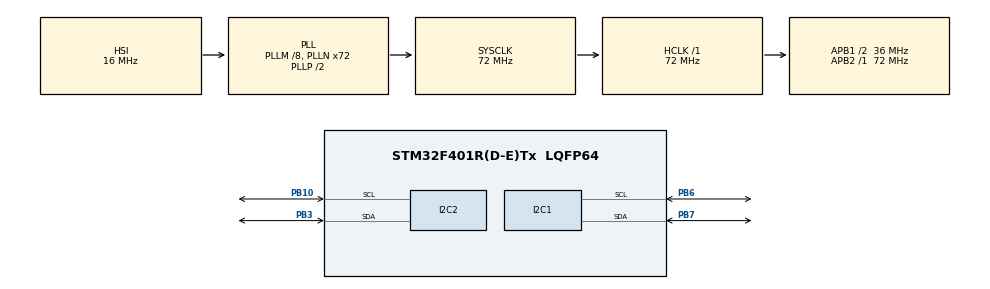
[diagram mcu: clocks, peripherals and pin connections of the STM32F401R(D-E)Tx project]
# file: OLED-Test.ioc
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I2C1.I2C_Mode=I2C_Fast
I2C2.I2C_Mode=I2C_Fast
Mcu.Family=STM32F4
Mcu.Name=STM32F401R(D-E)Tx
Mcu.Package=LQFP64
NVIC.PriorityGroup=NVIC_PRIORITYGROUP_4
PA13.Mode=Serial_Wire
PA13.Signal=SYS_JTMS-SWDIO
PA14.Mode=Serial_Wire
PA14.Signal=SYS_JTCK-SWCLK
PB10.Mode=I2C
PB10.Signal=I2C2_SCL
PB3.Mode=I2C
PB3.Signal=I2C2_SDA
PB6.Mode=I2C
PB6.Signal=I2C1_SCL
PB7.Mode=I2C
PB7.Signal=I2C1_SDA
PH0\ -\ OSC_IN.Mode=HSE-External-Oscillator
PH0\ -\ OSC_IN.Signal=RCC_OSC_IN
PH1\ -\ OSC_OUT.Mode=HSE-External-Oscillator
PH1\ -\ OSC_OUT.Signal=RCC_OSC_OUT
ProjectManager.HeapSize=0x200
ProjectManager.StackSize=0x400
ProjectManager.TargetToolchain=STM32CubeIDE
RCC.48MHZClocksFreq_Value=36000000
RCC.AHBFreq_Value=72000000
RCC.APB1CLKDivider=RCC_HCLK_DIV2
RCC.APB1Freq_Value=36000000
RCC.APB1TimFreq_Value=72000000
RCC.APB2Freq_Value=72000000
RCC.APB2TimFreq_Value=72000000
RCC.CortexFreq_Value=72000000
RCC.HCLKFreq_Value=72000000
RCC.HSE_VALUE=25000000
RCC.HSI_VALUE=16000000
RCC.LSE_VALUE=32768
RCC.PLLM=8
RCC.PLLN=72
RCC.SYSCLKFreq_VALUE=72000000
RCC.SYSCLKSource=RCC_SYSCLKSOURCE_PLLCLK
RCC.VCOOutputFreq_Value=144000000
board=custom

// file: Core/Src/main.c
/* USER CODE BEGIN Header */
/**
  ******************************************************************************
  * @file           : main.c
  * @brief          : Main program body
  ******************************************************************************
  * @attention
  *
  * Copyright (c) 2024 STMicroelectronics.
  * All rights reserved.
  *
  * This software is licensed under terms that can be found in the LICENSE file
  * in the root directory of this software component.
  * If no LICENSE file comes with this software, it is provided AS-IS.
  *
  ******************************************************************************
  */
/* USER CODE END Header */
#include "main.h"
#include "i2c.h"
#include "gpio.h"
/* USER CODE BEGIN Includes */
#include "oled.h"
#include "stdio.h"

  char message[50];
/* USER CODE END Includes */

void SystemClock_Config(void);

/* USER CODE BEGIN 0 */
#define TCS34725_ADDRESS          (0x29 << 1) /* I2C address */
/* Datasheet is at https://cdn-shop.adafruit.com/datasheets/TCS34725.pdf */
#define TCS34725_COMMAND_BIT      (0x80)      /* Command bit */
#define TCS34725_ENABLE           (0x00)      /* Enable register */
#define TCS34725_ENABLE_AEN       (0x02)      /* RGBC Enable */
#define TCS34725_ENABLE_PON       (0x01)      /* Power on */
#define TCS34725_ATIME            (0x01)      /* Integration time */
#define TCS34725_CONTROL          (0x0F)      /* Set the gain level */
#define TCS34725_ID               (0x12)
/* 0x44 = TCS34721/TCS34725, 0x4D = TCS34723/TCS34727 */
#define TCS34725_CDATAL           (0x14)      /* Clear channel data */
#define TCS34725_CDATAH           (0x15)
#define TCS34725_RDATAL           (0x16)      /* Red channel data */
#define TCS34725_RDATAH           (0x17)
#define TCS34725_GDATAL           (0x18)      /* Green channel data */
#define TCS34725_GDATAH           (0x19)
#define TCS34725_BDATAL           (0x1A)      /* Blue channel data */
#define TCS34725_BDATAH           (0x1B)
/* set the correct delay time in void getRawData() for TCS34725_INTEGRATIONTIME */
#define TCS34725_INTEGRATIONTIME_50MS   0xEB  /* 50ms  - 20 cycles */
#define TCS34725_GAIN_4X                0x01  /* 4x gain  */

uint8_t _tcs34725Initialised = 0;
int red, green, blue;

void write8 (uint8_t reg, uint32_t value);
uint8_t read8(uint8_t reg);
uint16_t read16(uint8_t reg);
void enable(void);
void disable(void);
void setIntegrationTime(uint8_t it);
void setGain(uint8_t gain);
void tcs3272_init( void );
void getRawData (uint16_t *r, uint16_t *g, uint16_t *b, uint16_t *c);
void getRGB(int *R, int *G, int *B);

/* Writes a register and an 8 bit value over I2C */
void write8 (uint8_t reg, uint32_t value)
{
    uint8_t txBuffer[2];
    txBuffer[0] = (TCS34725_COMMAND_BIT | reg);
    txBuffer[1] = (value & 0xFF);
    HAL_I2C_Master_Transmit(&hi2c2, TCS34725_ADDRESS, txBuffer, 2, 100);
}

/* Reads an 8 bit value over I2C */
uint8_t read8(uint8_t reg)
{
    uint8_t buffer[1];
    buffer[0] = (TCS34725_COMMAND_BIT | reg);
    HAL_I2C_Master_Transmit(&hi2c2, TCS34725_ADDRESS, buffer, 1, 100);
    HAL_I2C_Master_Receive(&hi2c2, TCS34725_ADDRESS, buffer, 1, 100);
    return buffer[0];
}

/* Reads a 16 bit values over I2C */
uint16_t read16(uint8_t reg)
{
  uint16_t ret;
    uint8_t txBuffer[1],rxBuffer[2];
    txBuffer[0] = (TCS34725_COMMAND_BIT | reg);
    HAL_I2C_Master_Transmit(&hi2c2, TCS34725_ADDRESS, txBuffer, 1, 100);
    HAL_I2C_Master_Receive(&hi2c2, TCS34725_ADDRESS, rxBuffer, 2, 100);
    ret = rxBuffer[1];
    ret <<= 8;
    ret |= rxBuffer[0] & 0xFF;
  return ret;
}

void enable(void)
{
  write8(TCS34725_ENABLE, TCS34725_ENABLE_PON);
  HAL_Delay(3);
  write8(TCS34725_ENABLE, TCS34725_ENABLE_PON | TCS34725_ENABLE_AEN);
  HAL_Delay(50);
}

void disable(void)
{
  /* Turn the device off to save power */
  uint8_t reg = 0;
  reg = read8(TCS34725_ENABLE);
  write8(TCS34725_ENABLE, reg & ~(TCS34725_ENABLE_PON | TCS34725_ENABLE_AEN));
}

void setIntegrationTime(uint8_t itime)
{
  if (_tcs34725Initialised == 0) tcs3272_init();
  write8(TCS34725_ATIME, itime);
}

void setGain(uint8_t gain)
{
  if (_tcs34725Initialised == 0) tcs3272_init();
  write8(TCS34725_CONTROL, gain);
}

void tcs3272_init(void)
{
  /* Make sure we're actually connected */
  uint8_t readValue = read8(TCS34725_ID);
  if ((readValue != 0x44) && (readValue != 0x10) && (readValue != 0x4d))
  {
    return;
  }
  _tcs34725Initialised = 1;
  /* Set default integration time and gain */
  setIntegrationTime(TCS34725_INTEGRATIONTIME_50MS);
  setGain(TCS34725_GAIN_4X);
  enable();
}

/* Get raw data */
void getRawData (uint16_t *r, uint16_t *g, uint16_t *b, uint16_t *c)
{
  if (_tcs34725Initialised == 0) tcs3272_init();

  *c = read16(TCS34725_CDATAL);
  *r = read16(TCS34725_RDATAL);
  *g = read16(TCS34725_GDATAL);
  *b = read16(TCS34725_BDATAL);
  /* Delay time is from page no 16/26 from the datasheet  (256 − ATIME)* 2.4ms */
  HAL_Delay(50); // Set delay for (256 − 0xEB)* 2.4ms = 50ms
}

/* Get Red, Green and Blue color from Raw Data */
void getRGB(int *R, int *G, int *B)
{
    uint16_t rawRed, rawGreen, rawBlue, rawClear;
    getRawData(&rawRed, &rawGreen, &rawBlue, &rawClear);
    if(rawClear == 0)
    {
      *R = 0;
      *G = 0;
      *B = 0;
    }
    else
    {
      *R = (int)rawRed * 255 / rawClear;
      *G = (int)rawGreen * 255 / rawClear;
      *B = (int)rawBlue * 255 / rawClear;
    }
   OLED_NewFrame();
   	   	   if(*B>=130){
   	   		  sprintf(message,"Blue!",*R);
   	   		  OLED_PrintString(0,1,message,&font16x16,OLED_COLOR_NORMAL);
   	   	   }
   	   	   else if(*R>=95&&*G>=110){
   	   		  sprintf(message,"Yellow!",*R);
    	  	  OLED_PrintString(0,1,message,&font16x16,OLED_COLOR_NORMAL);
   	   	  }
    	  else if(*R>130){
    		  sprintf(message,"Red!",*R);
    		  OLED_PrintString(0,1,message,&font16x16,OLED_COLOR_NORMAL);
    	  }else if(*G>130){
    		  sprintf(message,"Green!",*R);
    		  OLED_PrintString(0,1,message,&font16x16,OLED_COLOR_NORMAL);
    	  }else if(*R<130&&*G<130)
    	  {
    		  sprintf(message,"None!",*B);
    		  OLED_PrintString(0,1,message,&font16x16,OLED_COLOR_NORMAL);
    	  }
   	   	  	  sprintf(message,"RT: 50ms",*B);
   	   	  	  OLED_PrintString(0,16,message,&font16x16,OLED_COLOR_NORMAL);
    	  OLED_ShowFrame();
}
/* USER CODE END 0 */

int main(void)
{

  /* MCU Configuration--------------------------------------------------------*/

  /* Reset of all peripherals, Initializes the Flash interface and the Systick. */
  HAL_Init();

  /* Configure the system clock */
  SystemClock_Config();

  /* Initialize all configured peripherals */
  MX_GPIO_Init();
  MX_I2C1_Init();
  MX_I2C2_Init();
  /* USER CODE BEGIN 2 */
  HAL_Delay(20);
  OLED_Init();
  //int Rn,Gn,Bn;
  /* USER CODE END 2 */

  /* Infinite loop */
  /* USER CODE BEGIN WHILE */
  while (1)
  {
	  getRGB(&red, &green, &blue);
	  /*Rn=red;
	  Gn=green;
	  Bn=blue;
	  OLED_NewFrame();
	  sprintf(message,"R: %d",Rn);
	  OLED_PrintString(0,1,message,&font16x16,OLED_COLOR_NORMAL);
	  sprintf(message,"G: %d",Gn);
	  OLED_PrintString(0,18,message,&font16x16,OLED_COLOR_NORMAL);
	  sprintf(message,"B: %d",Bn);
	  OLED_PrintString(0,32,message,&font16x16,OLED_COLOR_NORMAL);
	  //LED_DrawImage(32,6,&SugarRushImg,OLED_COLOR_NORMAL);
	  OLED_ShowFrame();*/
	  HAL_Delay(50);
    /* USER CODE END WHILE */

  }
}

void SystemClock_Config(void)
{
  RCC_OscInitTypeDef RCC_OscInitStruct = {0};
  RCC_ClkInitTypeDef RCC_ClkInitStruct = {0};

  /** Configure the main internal regulator output voltage
  */
  __HAL_RCC_PWR_CLK_ENABLE();
  __HAL_PWR_VOLTAGESCALING_CONFIG(PWR_REGULATOR_VOLTAGE_SCALE2);

  /** Initializes the RCC Oscillators according to the specified parameters
  * in the RCC_OscInitTypeDef structure.
  */
  RCC_OscInitStruct.OscillatorType = RCC_OSCILLATORTYPE_HSI;
  RCC_OscInitStruct.HSIState = RCC_HSI_ON;
  RCC_OscInitStruct.HSICalibrationValue = RCC_HSICALIBRATION_DEFAULT;
  RCC_OscInitStruct.PLL.PLLState = RCC_PLL_ON;
  RCC_OscInitStruct.PLL.PLLSource = RCC_PLLSOURCE_HSI;
  RCC_OscInitStruct.PLL.PLLM = 8;
  RCC_OscInitStruct.PLL.PLLN = 72;
  RCC_OscInitStruct.PLL.PLLP = RCC_PLLP_DIV2;
  RCC_OscInitStruct.PLL.PLLQ = 4;
  if (HAL_RCC_OscConfig(&RCC_OscInitStruct) != HAL_OK)
  {
    Error_Handler();
  }

  /** Initializes the CPU, AHB and APB buses clocks
  */
  RCC_ClkInitStruct.ClockType = RCC_CLOCKTYPE_HCLK|RCC_CLOCKTYPE_SYSCLK
                              |RCC_CLOCKTYPE_PCLK1|RCC_CLOCKTYPE_PCLK2;
  RCC_ClkInitStruct.SYSCLKSource = RCC_SYSCLKSOURCE_PLLCLK;
  RCC_ClkInitStruct.AHBCLKDivider = RCC_SYSCLK_DIV1;
  RCC_ClkInitStruct.APB1CLKDivider = RCC_HCLK_DIV2;
  RCC_ClkInitStruct.APB2CLKDivider = RCC_HCLK_DIV1;

  if (HAL_RCC_ClockConfig(&RCC_ClkInitStruct, FLASH_LATENCY_2) != HAL_OK)
  {
    Error_Handler();
  }
}

void Error_Handler(void)
{
  __disable_irq();
  while (1)
  {
  }
}
